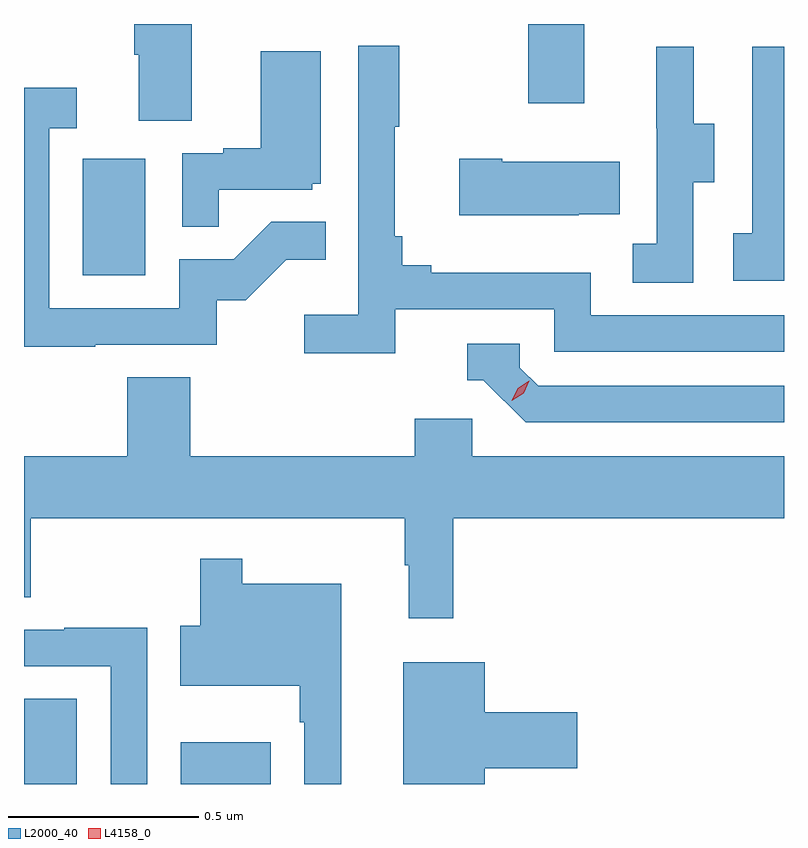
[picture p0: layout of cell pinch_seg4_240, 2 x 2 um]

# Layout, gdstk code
import gdstk
lib = gdstk.Library(unit=1e-6, precision=1e-09)
def R(c, l, rs):  # rectangles x0, y0, x1, y1
    for r in rs: c.add(gdstk.rectangle(r[:2], r[2:], *l))
def P(c, l, *ps):  # polygons
    for p in ps: c.add(gdstk.Polygon(p, *l))
L2000_40 = (2000, 40)
L4158_0 = (4158, 0)

pinch_seg4_240 = lib.new_cell('pinch_seg4_240')
R(pinch_seg4_240, L2000_40, [(912.417,817.433,912.556,817.657), (912.83,817.433,913.066,817.543), (912.572,818.772,912.736,819.079), (913.744,819.225,913.891,819.433)])
P(pinch_seg4_240, L2000_40, [(912.859,819.433),(912.707,819.433),(912.707,819.352),(912.719,819.352),(912.719,819.178),(912.859,819.178)],
  [(913.394,818.682),(913.812,818.682),(913.812,818.571),(914.417,818.571),(914.417,818.667),(913.908,818.667),(913.908,818.779),(913.489,818.779),(913.489,818.798),(913.412,818.798),(913.412,818.875),(913.393,818.875),(913.393,819.163),(913.405,819.163),(913.405,819.376),(913.296,819.376),(913.296,818.668),(913.155,818.668),(913.155,818.566),(913.394,818.566)],
  [(914.417,819.373),(914.334,819.373),(914.334,818.882),(914.283,818.882),(914.283,818.757),(914.417,818.757)],
  [(914.178,819.016),(914.233,819.016),(914.233,819.171),(914.179,819.171),(914.179,819.373),(914.081,819.373),(914.081,819.159),(914.082,819.159),(914.082,818.855),(914.019,818.855),(914.019,818.752),(914.178,818.752)],
  [(912.929,818.997),(913.176,818.997),(913.176,819.012),(913.198,819.012),(913.198,819.361),(913.04,819.361),(913.04,819.106),(912.941,819.106),(912.941,819.093),(912.834,819.093),(912.834,818.899),(912.929,818.899)],
  [(912.605,818.589),(912.924,818.589),(912.924,818.706),(913,818.706),(913.107,818.813),(913.211,818.813),(913.211,818.912),(913.067,818.912),(912.969,818.814),(912.825,818.814),(912.825,818.685),(912.483,818.685),(912.483,819.159),(912.556,819.159),(912.556,819.265),(912.417,819.265),(912.417,818.584),(912.605,818.584)],
  [(913.877,818.933),(913.985,818.933),(913.985,819.07),(913.675,819.07),(913.675,819.078),(913.563,819.078),(913.563,818.93),(913.877,818.93)],
  [(914.417,818.481),(913.77,818.481),(913.722,818.529),(913.722,818.592),(913.583,818.592),(913.583,818.496),(913.626,818.496),(913.737,818.385),(914.417,818.385)],
  [(913.547,818.132),(914.417,818.132),(914.417,818.296),(913.596,818.296),(913.596,818.394),(913.445,818.394),(913.445,818.296),(912.854,818.296),(912.854,818.504),(912.689,818.504),(912.689,818.296),(912.417,818.296),(912.417,817.924),(912.435,817.924),(912.435,818.132),(913.419,818.132),(913.419,818.009),(913.43,818.009),(913.43,817.869),(913.547,817.869)],
  [(913.252,817.96),(912.991,817.96),(912.991,818.026),(912.881,818.026),(912.881,817.849),(912.828,817.849),(912.828,817.691),(913.143,817.691),(913.143,817.595),(913.155,817.595),(913.155,817.433),(913.252,817.433)],
  [(912.741,817.844),(912.523,817.844),(912.523,817.839),(912.417,817.839),(912.417,817.743),(912.645,817.743),(912.645,817.433),(912.741,817.433)],
  [(913.63,817.475),(913.873,817.475),(913.873,817.622),(913.63,817.622),(913.63,817.753),(913.415,817.753),(913.415,817.433),(913.63,817.433)])
P(pinch_seg4_240, L4158_0, [(913.701,818.441),(913.701,818.442),(913.716,818.474),(913.747,818.494),(913.747,818.494),(913.747,818.494),(913.732,818.461),(913.701,818.441)])

lib.write_gds('pinch_seg4_240.gds')
